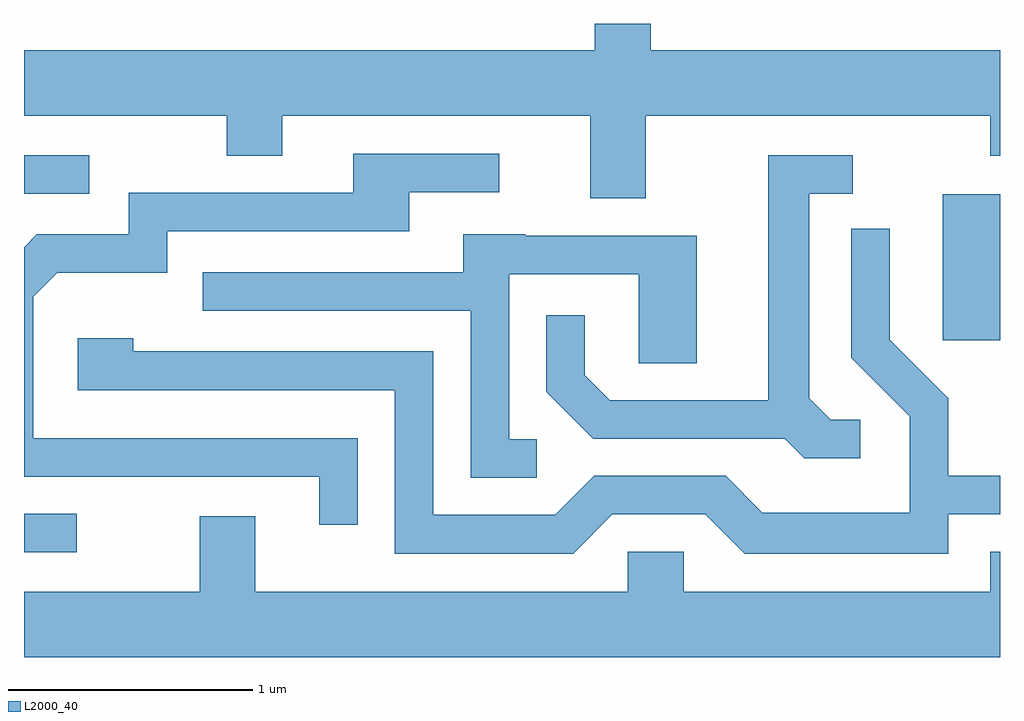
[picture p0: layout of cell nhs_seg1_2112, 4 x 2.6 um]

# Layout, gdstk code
import gdstk
lib = gdstk.Library(unit=1e-6, precision=1e-09)
def R(c, l, rs):  # rectangles x0, y0, x1, y1
    for r in rs: c.add(gdstk.rectangle(r[:2], r[2:], *l))
def P(c, l, *ps):  # polygons
    for p in ps: c.add(gdstk.Polygon(p, *l))
L2000_40 = (2000, 40)

nhs_seg1_2112 = lib.new_cell('nhs_seg1_2112')
R(nhs_seg1_2112, L2000_40, [(249.611,915.546,249.828,915.704), (253.376,916.416,253.611,917.014), (249.611,917.016,249.878,917.174)])
P(nhs_seg1_2112, L2000_40, [(252.159,917.336),(253.571,917.336),(253.571,917.171),(253.611,917.171),(253.611,917.604),(252.179,917.604),(252.179,917.712),(251.951,917.712),(251.951,917.604),(249.611,917.604),(249.611,917.336),(250.441,917.336),(250.441,917.171),(250.669,917.171),(250.669,917.336),(251.931,917.336),(251.931,916.996),(252.159,916.996)],
  [(250.979,916.014),(249.649,916.014),(249.649,916.594),(249.747,916.691),(250.199,916.691),(250.199,916.861),(251.189,916.861),(251.189,917.021),(251.558,917.021),(251.558,917.179),(250.961,917.179),(250.961,917.019),(250.041,917.019),(250.041,916.849),(249.664,916.849),(249.611,916.796),(249.611,915.856),(250.821,915.856),(250.821,915.658),(250.979,915.658)],
  [(253.038,916.089),(252.917,916.089),(252.829,916.177),(252.829,917.016),(253.008,917.016),(253.008,917.174),(252.661,917.174),(252.661,916.169),(252.012,916.169),(251.909,916.272),(251.909,916.518),(251.751,916.518),(251.751,916.204),(251.944,916.011),(252.729,916.011),(252.809,915.931),(253.038,915.931)],
  [(252.022,915.701),(252.404,915.701),(252.564,915.541),(253.399,915.541),(253.399,915.701),(253.611,915.701),(253.611,915.859),(253.399,915.859),(253.399,916.177),(253.159,916.417),(253.159,916.873),(253.001,916.873),(253.001,916.344),(253.241,916.104),(253.241,915.709),(252.637,915.709),(252.487,915.859),(251.949,915.859),(251.789,915.699),(251.289,915.699),(251.289,916.369),(250.059,916.369),(250.059,916.424),(249.831,916.424),(249.831,916.211),(251.131,916.211),(251.131,915.541),(251.862,915.541)],
  [(251.713,916.009),(251.599,916.009),(251.599,916.686),(252.131,916.686),(252.131,916.321),(252.369,916.321),(252.369,916.844),(251.665,916.844),(251.665,916.849),(251.411,916.849),(251.411,916.694),(250.343,916.694),(250.343,916.536),(251.441,916.536),(251.441,915.851),(251.713,915.851)],
  [(253.611,915.549),(253.571,915.549),(253.571,915.384),(252.314,915.384),(252.314,915.549),(252.086,915.549),(252.086,915.384),(250.559,915.384),(250.559,915.694),(250.331,915.694),(250.331,915.384),(249.611,915.384),(249.611,915.116),(253.611,915.116)])

lib.write_gds('nhs_seg1_2112.gds')
